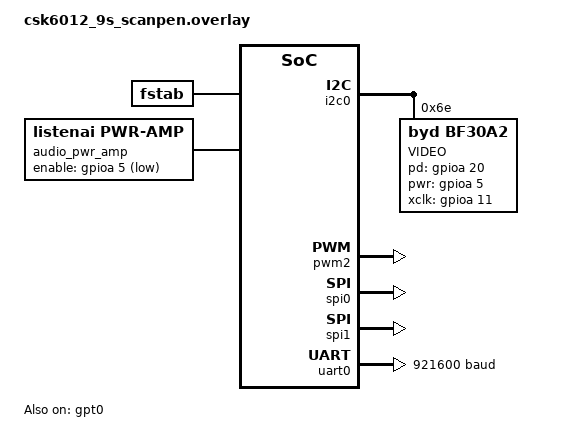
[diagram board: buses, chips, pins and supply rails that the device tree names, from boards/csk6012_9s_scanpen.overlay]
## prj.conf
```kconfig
# nothing here
CONFIG_MINIMAL_LIBC_RAND=y
CONFIG_GPIO=y
CONFIG_I2C=y
CONFIG_SPI=y
CONFIG_DMA=y
CONFIG_PWM=y
CONFIG_VIDEO=y
CONFIG_VIDEO_BF30A2=y
CONFIG_KERNEL_MEM_POOL=y
CONFIG_STDOUT_CONSOLE=y
CONFIG_PRINTK=y
CONFIG_LOG=y
CONFIG_LOG_PRINTK=y
CONFIG_LOG_MODE_IMMEDIATE=y
CONFIG_PWM_LOG_LEVEL_DBG=y
CONFIG_SPI_SLAVE=y
CONFIG_SPI_RX_DMA=y
CONFIG_HEAP_MEM_POOL_SIZE=81920
CONFIG_MAIN_STACK_SIZE=40960

CONFIG_SPI_SLAVE=y
CONFIG_SPI_RX_DMA=y

CONFIG_VIDEO_BUFFER_POOL_SZ_MAX=30720
CONFIG_UART_INTERRUPT_DRIVEN=y
CONFIG_IPM=y
CONFIG_ASSERT=y

CONFIG_IDLE_STACK_SIZE=8192
CONFIG_ISR_STACK_SIZE=8192
CONFIG_VIDEO_BUFFER_POOL_NUM_MAX=4
CONFIG_NOCACHE_MEMORY=y
CONFIG_VIDEO_CUSTOM_SECTION=y
CONFIG_VIDEO_CUSTOM_SECTION_NAME=".psram_section"
CONFIG_CSK6_PSRAM=y

CONFIG_ZERO_LATENCY_IRQS=y
CONFIG_SPIN_VALIDATE=n
```

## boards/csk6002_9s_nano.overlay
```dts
&csk6002_9s_nano_pinctrl{
                pinctrl_i2c0_scl_default: i2c0_scl_default{
                        pinctrls = <&pinmuxb 2 8>;
                };

                pinctrl_i2c0_sda_default: i2c0_sda_default{
                        pinctrls = <&pinmuxb 3 8>;
                };

                pinctrl_spi1_sclk_default: spi1_sclk_default {
                    pinctrls = < &pinmuxb 0 7 >;
                };

                pinctrl_spi1_mosi_default: spi1_mosi_default {
                    pinctrls = < &pinmuxb 1 7 >;
                };

                pinctrl_spi1_cs_default: spi1_cs_default {
                    pinctrls = < &pinmuxa 9 7 >;
                };
};

&gpt0 {
	status = "okay";
};

&spi0 {
    status = "disabled";
};

&spi1 {
    status = "okay";
    spi-max-frequency = <100000000>;
    pinctrl-0 = <&pinctrl_spi1_sclk_default &pinctrl_spi1_mosi_default &pinctrl_spi1_cs_default>;
	pinctrl-names = "default";
};

&i2c0 {
        status = "okay";
        pinctrl-0 = <&pinctrl_i2c0_scl_default &pinctrl_i2c0_sda_default>;
        pinctrl-names = "default";

        bf30a2: bf30a2@6e {
            compatible = "byd,bf30a2";
            status = "okay";
            label = "VIDEO";
            reg = <0x6e>;
            pd-gpios = <&gpioa 5 0>;
            pwr-gpios = <&gpioa 5 0>;
            product-id = <0x3b02>;
            spi = <&spi1>;
	    xclk-gpios = <&gpioa 7 0>;
        };
};
```

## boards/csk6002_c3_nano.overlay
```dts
&csk6002_c3_nano_pinctrl{
                pinctrl_i2c0_scl_default: i2c0_scl_default{
                        pinctrls = <&pinmuxb 2 8>;
                };
                
                pinctrl_i2c0_sda_default: i2c0_sda_default{
                        pinctrls = <&pinmuxb 3 8>;
                };

                pinctrl_spi1_sclk_default: spi1_sclk_default {
                    pinctrls = < &pinmuxb 0 7 >;
                };

                pinctrl_spi1_mosi_default: spi1_mosi_default {
                    pinctrls = < &pinmuxb 1 7 >;
                };

                pinctrl_spi1_miso_default: spi1_miso_default {
                    pinctrls = < &pinmuxa 20 7 >;
                };

                pinctrl_spi1_cs_default: spi1_cs_default {
                    pinctrls = < &pinmuxa 9 7 >;
                };

};

&gpt0 {
	status = "okay";

    pwm5: pwm5 {
        status = "disabled";
    };

	pwm2: pwm2 {
        status = "disabled";
    };
};

&spi0 {
    status = "disabled";
};

&spi1 {
    status = "okay";
    spi-max-frequency = <100000000>;
    pinctrl-0 = <&pinctrl_spi1_sclk_default &pinctrl_spi1_mosi_default &pinctrl_spi1_miso_default &pinctrl_spi1_cs_default>; 
	pinctrl-names = "default";
};

&i2c0 {
        status = "okay";
        pinctrl-0 = <&pinctrl_i2c0_scl_default &pinctrl_i2c0_sda_default>; 
        pinctrl-names = "default";

        bf30a2: bf30a2@6e {
            compatible = "byd,bf30a2";
            status = "okay";
            label = "VIDEO";
            reg = <0x6e>;
            pd-gpios = <&gpioa 5 0>;
            pwr-gpios = <&gpioa 5 0>;
            product-id = <0x3b02>;
            spi = <&spi1>;
        };
};
```

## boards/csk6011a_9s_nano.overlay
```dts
&csk6011a_9s_nano_pinctrl{
                pinctrl_i2c0_scl_default: i2c0_scl_default{
                        pinctrls = <&pinmuxb 2 8>;
                };

                pinctrl_i2c0_sda_default: i2c0_sda_default{
                        pinctrls = <&pinmuxb 3 8>;
                };

                pinctrl_spi1_sclk_default: spi1_sclk_default {
                    pinctrls = < &pinmuxb 0 7 >;
                };

                pinctrl_spi1_mosi_default: spi1_mosi_default {
                    pinctrls = < &pinmuxb 1 7 >;
                };

                pinctrl_spi1_cs_default: spi1_cs_default {
                    pinctrls = < &pinmuxa 9 7 >;
                };
};

&gpt0 {
	status = "okay";
};

&spi0 {
    status = "disabled";
};

&spi1 {
    status = "okay";
    spi-max-frequency = <100000000>;
    pinctrl-0 = <&pinctrl_spi1_sclk_default &pinctrl_spi1_mosi_default &pinctrl_spi1_cs_default>;
	pinctrl-names = "default";
};

&i2c0 {
        status = "okay";
        pinctrl-0 = <&pinctrl_i2c0_scl_default &pinctrl_i2c0_sda_default>;
        pinctrl-names = "default";

        bf30a2: bf30a2@6e {
            compatible = "byd,bf30a2";
            status = "okay";
            label = "VIDEO";
            reg = <0x6e>;
            pd-gpios = <&gpioa 5 0>;
            pwr-gpios = <&gpioa 5 0>;
            product-id = <0x3b02>;
            spi = <&spi1>;
	    xclk-gpios = <&gpioa 7 0>;
        };
};
```

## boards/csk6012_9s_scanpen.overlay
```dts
/*
 * Copyright (c) 2021 listenai Intelligent Technology (anhui) Co., Ltd.
 *
 * SPDX-License-Identifier: Apache-2.0
 */
 /delete-node/ &storage_partition;

 / {
         chosen {
                 /*
                  * shared memory reserved for the inter-processor communication
                  */
                 zephyr,ipc_shm = &psram_share;
                 zephyr,ipc = &mailbox0;
                 zephyr,flash_sysfs_storage = &filesystem_part;
                 zephyr,flash_controller = &flash;
                 zephyr,uart-mcumgr = &uart0;
                 /*
                  *zephyr,code-partition = &slot0_partition;
                  */
                 /*
                  *zephyr,lisa_heap = &psram_region1;
                  */
         };
 
          aliases {
                  avf-audio-pwr-amp = &pwr_amp;
          };
 
 
         fstab {
                 compatible = "zephyr,fstab";
                 lfs1: lfs1 {
                         compatible = "zephyr,fstab,littlefs";
                         mount-point = "/lfs1";
                         partition = <&filesystem_part>;
                         automount ;
                         no-format;
                         read-size = <16>;
                         prog-size = <16>;
                         cache-size = <64>;
                         lookahead-size = <32>;
                         block-cycles = <512>;
                 };
         };
 
         pwr_amp:audio_pwr_amp{
                  compatible = "listenai,pwr-amp";
                  enable-gpios = <&gpioa 5 1>;
                  label = "audio_pwr_amp";	
                  status = "okay";
          };
 
          gpio,user {
                 compatible = "listenai,csk-gpio-user";
                 pwrlock: powerlock {
                                 gpios = <&gpiob 5 1>;
                                 label = "power_lock";
                 };
                 pwm1pin: pwm1pin {
                                 gpios = <&gpioa 5 0>;
                                 label = "power_lock";
                 };
                 fy_key: fykey {
                                 gpios = <&gpiob 5 1>;
                                 label = "power_lock";
                 };
 
 
 };
 
 };
 
  
 &flash0 {
         reg = <0x18000000 DT_SIZE_M(8)>;
         write-block-size = <4>;
         partitions {
                 compatible = "fixed-partitions";
                 #address-cells = <1>;
                 #size-cells = <1>;
         /* filesystem: 2.625MB */
         filesystem_part: partition@260000 {
                                         label = "filesystem";
                                         reg = <0x260000 0x2a0000>;
                         };
         };
 };
 
 &i2c0 {
         status = "okay";
         pinctrl-0 = <&pinctrl_i2c0_scl_default &pinctrl_i2c0_sda_default>; 
         pinctrl-names = "default";
 
         bf30a2: bf30a2@6e {
             compatible = "byd,bf30a2";
             status = "okay";
             label = "VIDEO";
             reg = <0x6e>;
             pd-gpios = <&gpioa 20 0>;
             pwr-gpios = <&gpioa 5 0>;
             product-id = <0x3b02>;
             spi = <&spi1>;
                         xclk-gpios = <&gpioa 11 0>;
         };
 };
 
 &gpt0 {
         status = "okay";
 
         pwm2: pwm2 {
         clock-prescaler = <1>;
         status = "okay";
         pinctrl-0 = <&pinctrl_pwm2_default>; 
         pinctrl-names = "default";
     };
 };
 
 &spi0 {
             status = "okay";
                     spi-max-frequency = <25000000>;
 };
 
 &spi1 {
     status = "okay";
     spi-max-frequency = <100000000>;
     pinctrl-0 = <&pinctrl_spi1_sclk_default &pinctrl_spi1_mosi_default &pinctrl_spi1_cs_default>; 
         pinctrl-names = "default";
 };
 
 
 &csk6012_9s_scanpen_pinctrl {
 
                 pinctrl_pwm2_default: pwm2_default{
                     pinctrls = <&pinmuxb 6 11>;
                 };
 
                                 
                 pinctrl_pwm1_default: pwm1_default{
                     pinctrls = <&pinmuxa 5 11>;
                 };
 
                 pinctrl_i2c0_scl_default: i2c0_scl_default{
                         pinctrls = <&pinmuxb 2 8>;
                 };
                 
                 pinctrl_i2c0_sda_default: i2c0_sda_default{
                         pinctrls = <&pinmuxb 3 8>;
                 };
 
                                 pinctrl_spi1_sclk_default: spi1_sclk_default {
                     pinctrls = < &pinmuxb 0 7 >;
                 };
 
                 pinctrl_spi1_mosi_default: spi1_mosi_default {
                     pinctrls = < &pinmuxb 1 7 >;
                 };
 
                 pinctrl_spi1_miso_default: spi1_miso_default {
                     pinctrls = < &pinmuxa 20 7 >;
                 };
 
                 pinctrl_spi1_cs_default: spi1_cs_default {
                     pinctrls = < &pinmuxa 9 7 >;
                 };
 };
 
 &uart0 {
         current-speed = <921600>;
         status = "okay";
 };
```

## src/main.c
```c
/*
 * Copyright (c) 2022 ListenAI
 *
 * SPDX-License-Identifier: Apache-2.0
 */

#include <zephyr.h>
#include <sys/printk.h>

#include <cache.h>
#include <drivers/video.h>
#include <device.h>

#include "venus_ap.h"
#include "cmn_sysctrl_reg_venus.h"
#include "PSRAMManager.h"

#include <logging/log.h>
#include <drivers/uart.h>
#include <drivers/ipm.h>

LOG_MODULE_REGISTER(main, 4);

#define VIDEO_DEV DT_LABEL(DT_INST(0, byd_bf30a2))

void main(void)
{
	printk("Hello World! %s\n", CONFIG_BOARD);

    const struct device *video = device_get_binding(VIDEO_DEV);

	if (!device_is_ready(video)) {
		printk("ipm device is null.\n");
		return;
	}

	while (1) {
		k_sleep(K_MSEC(1000));
	}
}

static void test_thread_0(void *p1, void *p2, void *p3)
{
    const struct device *video = device_get_binding(VIDEO_DEV);

    uint32_t loop_cnt = 0;
    uint32_t last_tick = 0;
    uint32_t frame_cnt = 0;
    struct video_buffer *buf = NULL;

    uint32_t tick;
    while(1) {
        LOG_INF("start video steam, loop count:%d\n", ++loop_cnt);

        /* Start video capture */
        if (video_stream_start(video)) {
            printk("Unable to start video.\n");
            return;
        }
        
        tick = k_uptime_get_32();
        while((k_uptime_get_32() - tick) < 3000) {
            video_dequeue(video, VIDEO_EP_OUT, &buf, K_FOREVER);
            if (buf != NULL) {
                frame_cnt++;
                int fps = (buf->timestamp - last_tick) > 0 ? 1000 / (buf->timestamp - last_tick) : 0;
                // LOG_INF("FPS:%d, frame count:%d, vbuf:%p.", fps, frame_cnt, buf);
                last_tick = buf->timestamp;
                memset(buf->buffer, 0, buf->bytesused);
                video_enqueue(video, VIDEO_EP_OUT, buf);
            }
            buf = NULL;
        }

        LOG_INF("stop video steam, loop count:%d\n", loop_cnt);
        /* buffer will be automatically flushed after stopping. */
        if (video_stream_stop(video)) {
            printk("Unable to start video.\n");
            return;
        }

        int r;
        /* NO WAIT */
        while((r = video_dequeue(video, VIDEO_EP_OUT, &buf, K_NO_WAIT)) == 0) {
            memset(buf->buffer, 0, buf->bytesused);
            video_enqueue(video, VIDEO_EP_OUT, buf);
        }
        LOG_INF("sleep.");
        k_msleep(1 * 1000);
    }
}

K_THREAD_DEFINE(test_thread_0_thread, 1024,                \
			test_thread_0, NULL, NULL, NULL,               \
			0, 0, 0);
```
